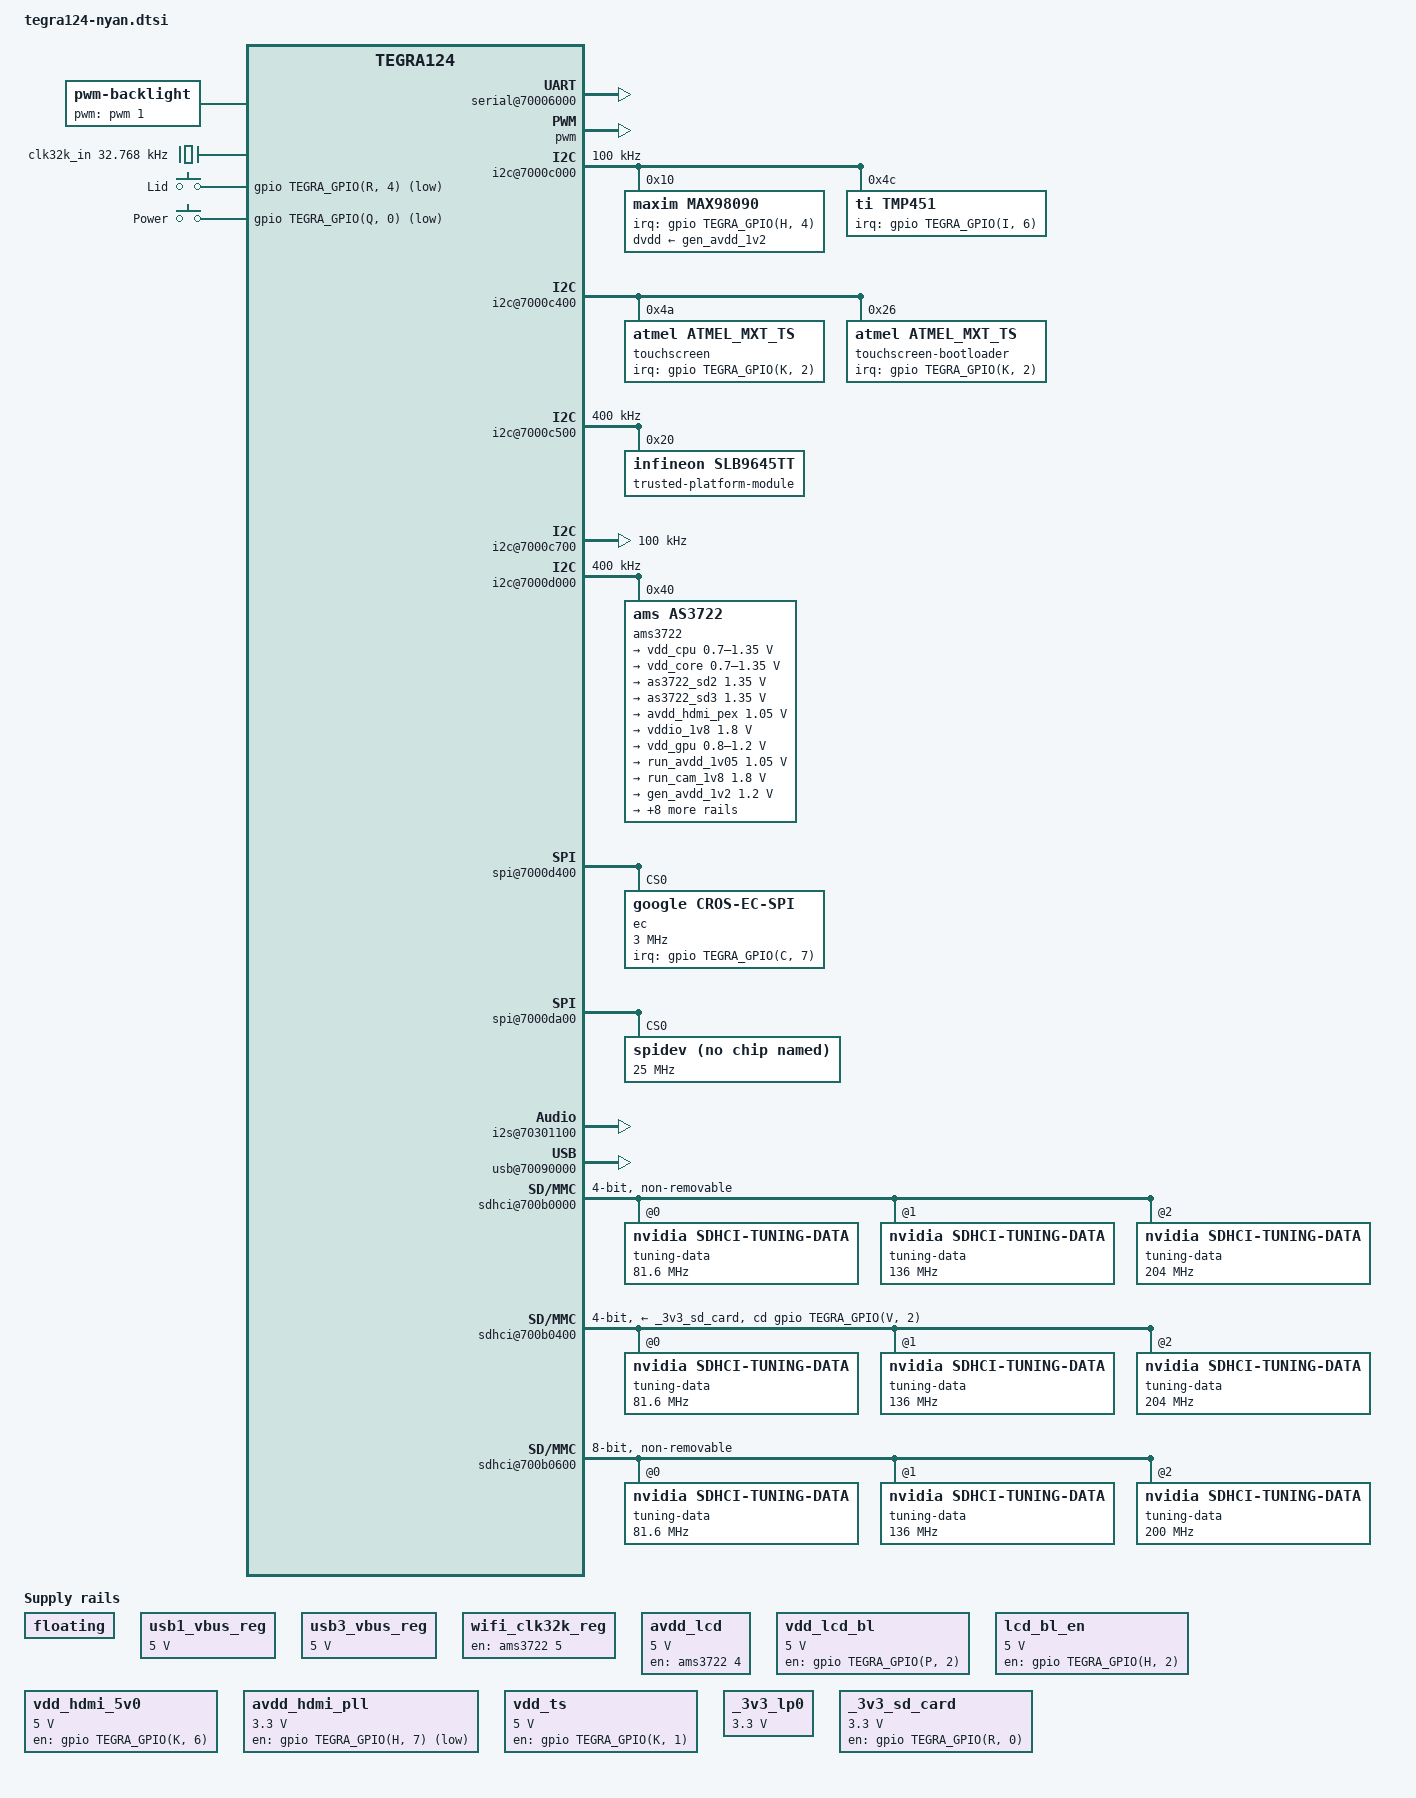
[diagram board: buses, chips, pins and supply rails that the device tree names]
#include <dt-bindings/input/input.h>
#include <dt-bindings/mfd/as3722.h>
#include <dt-bindings/thermal/thermal.h>
#include "tegra124.dtsi"

/ {
	compatible = "google,nyan", "nvidia,tegra124";

	memory {
		reg = <0x0 0x80000000 0x80000000>;
	};

	firmware {
		chromeos {
			write-protect-gpio = <&gpio TEGRA_GPIO(R, 1) GPIO_ACTIVE_LOW>;
		};
	};

	host1x@50000000 {
		dc@54200000 {
			avdd-lcd-supply = <&avdd_lcd>;
			vdd-lcd-bl-supply = <&vdd_lcd_bl>;
			lcd-bl-en-supply = <&lcd_bl_en>;
		};

		dc@54240000 {
			avdd-hdmi-pex-supply = <&avdd_hdmi_pex>;
			avdd-hdmi-pll-supply = <&avdd_hdmi_pll>;
			vdd-hdmi-5v0-supply = <&vdd_hdmi_5v0>;

			hdmi-hpd-gpios = <&gpio TEGRA_GPIO(N, 7) GPIO_ACTIVE_HIGH>;
		};

		gk20a@57000000 {
			vddgpu-supply = <&vdd_gpu>;
		};
	};

	pinmux {
		pinctrl-names = "default";
		pinctrl-0 = <&state_default>;

		state_default: pinmux@0 {
			dap_mclk1_pw4 {
				nvidia,pins = "dap_mclk1_pw4";
				nvidia,function = "extperiph1";
				nvidia,pull = <TEGRA_PIN_PULL_NONE>;
				nvidia,tristate = <TEGRA_PIN_DISABLE>;
				nvidia,enable-input = <TEGRA_PIN_DISABLE>;
			};
			dap2_din_pa4 {
				nvidia,pins = "dap2_din_pa4";
				nvidia,function = "i2s1";
				nvidia,pull = <TEGRA_PIN_PULL_NONE>;
				nvidia,tristate = <TEGRA_PIN_DISABLE>;
				nvidia,enable-input = <TEGRA_PIN_ENABLE>;
			};
			dap2_dout_pa5 {
				nvidia,pins = "dap2_dout_pa5",
						"dap2_fs_pa2",
						"dap2_sclk_pa3";
				nvidia,function = "i2s1";
				nvidia,pull = <TEGRA_PIN_PULL_NONE>;
				nvidia,tristate = <TEGRA_PIN_DISABLE>;
				nvidia,enable-input = <TEGRA_PIN_DISABLE>;
			};
			dap3_dout_pp2 {
				nvidia,pins = "dap3_dout_pp2";
				nvidia,function = "i2s2";
				nvidia,pull = <TEGRA_PIN_PULL_DOWN>;
				nvidia,tristate = <TEGRA_PIN_DISABLE>;
				nvidia,enable-input = <TEGRA_PIN_DISABLE>;
			};
			dvfs_pwm_px0 {
				nvidia,pins = "dvfs_pwm_px0",
						"dvfs_clk_px2";
				nvidia,function = "cldvfs";
				nvidia,pull = <TEGRA_PIN_PULL_NONE>;
				nvidia,tristate = <TEGRA_PIN_DISABLE>;
				nvidia,enable-input = <TEGRA_PIN_DISABLE>;
			};
			ulpi_clk_py0 {
				nvidia,pins = "ulpi_clk_py0",
						"ulpi_nxt_py2",
						"ulpi_stp_py3";
				nvidia,function = "spi1";
				nvidia,pull = <TEGRA_PIN_PULL_NONE>;
				nvidia,tristate = <TEGRA_PIN_DISABLE>;
				nvidia,enable-input = <TEGRA_PIN_DISABLE>;
			};
			ulpi_dir_py1 {
				nvidia,pins = "ulpi_dir_py1";
				nvidia,function = "spi1";
				nvidia,pull = <TEGRA_PIN_PULL_NONE>;
				nvidia,tristate = <TEGRA_PIN_DISABLE>;
				nvidia,enable-input = <TEGRA_PIN_ENABLE>;
			};
			cam_i2c_scl_pbb1 {
				nvidia,pins = "cam_i2c_scl_pbb1",
						"cam_i2c_sda_pbb2";
				nvidia,function = "i2c3";
				nvidia,pull = <TEGRA_PIN_PULL_NONE>;
				nvidia,tristate = <TEGRA_PIN_DISABLE>;
				nvidia,enable-input = <TEGRA_PIN_ENABLE>;
				nvidia,lock = <TEGRA_PIN_DISABLE>;
				nvidia,open-drain = <TEGRA_PIN_ENABLE>;
			};
			gen2_i2c_scl_pt5 {
				nvidia,pins = "gen2_i2c_scl_pt5",
						"gen2_i2c_sda_pt6";
				nvidia,function = "i2c2";
				nvidia,pull = <TEGRA_PIN_PULL_NONE>;
				nvidia,tristate = <TEGRA_PIN_DISABLE>;
				nvidia,enable-input = <TEGRA_PIN_ENABLE>;
				nvidia,lock = <TEGRA_PIN_DISABLE>;
				nvidia,open-drain = <TEGRA_PIN_ENABLE>;
			};
			pj7 {
				nvidia,pins = "pj7";
				nvidia,function = "uartd";
				nvidia,pull = <TEGRA_PIN_PULL_NONE>;
				nvidia,tristate = <TEGRA_PIN_DISABLE>;
				nvidia,enable-input = <TEGRA_PIN_DISABLE>;
			};
			spdif_in_pk6 {
				nvidia,pins = "spdif_in_pk6";
				nvidia,function = "spdif";
				nvidia,pull = <TEGRA_PIN_PULL_DOWN>;
				nvidia,tristate = <TEGRA_PIN_DISABLE>;
				nvidia,enable-input = <TEGRA_PIN_DISABLE>;
			};
			pk7 {
				nvidia,pins = "pk7";
				nvidia,function = "uartd";
				nvidia,pull = <TEGRA_PIN_PULL_NONE>;
				nvidia,tristate = <TEGRA_PIN_DISABLE>;
				nvidia,enable-input = <TEGRA_PIN_DISABLE>;
			};
			pg4 {
				nvidia,pins = "pg4",
						"pg5",
						"pg6",
						"pi3";
				nvidia,function = "spi4";
				nvidia,pull = <TEGRA_PIN_PULL_NONE>;
				nvidia,tristate = <TEGRA_PIN_DISABLE>;
				nvidia,enable-input = <TEGRA_PIN_DISABLE>;
			};
			pg7 {
				nvidia,pins = "pg7";
				nvidia,function = "spi4";
				nvidia,pull = <TEGRA_PIN_PULL_NONE>;
				nvidia,tristate = <TEGRA_PIN_DISABLE>;
				nvidia,enable-input = <TEGRA_PIN_ENABLE>;
			};
			ph1 {
				nvidia,pins = "ph1";
				nvidia,function = "pwm1";
				nvidia,pull = <TEGRA_PIN_PULL_NONE>;
				nvidia,tristate = <TEGRA_PIN_DISABLE>;
				nvidia,enable-input = <TEGRA_PIN_DISABLE>;
			};
			pk0 {
				nvidia,pins = "pk0",
						"kb_row15_ps7",
						"clk_32k_out_pa0";
				nvidia,function = "soc";
				nvidia,pull = <TEGRA_PIN_PULL_UP>;
				nvidia,tristate = <TEGRA_PIN_DISABLE>;
				nvidia,enable-input = <TEGRA_PIN_ENABLE>;
			};
			sdmmc1_clk_pz0 {
				nvidia,pins = "sdmmc1_clk_pz0";
				nvidia,function = "sdmmc1";
				nvidia,pull = <TEGRA_PIN_PULL_NONE>;
				nvidia,tristate = <TEGRA_PIN_DISABLE>;
				nvidia,enable-input = <TEGRA_PIN_ENABLE>;
			};
			sdmmc1_cmd_pz1 {
				nvidia,pins = "sdmmc1_cmd_pz1",
						"sdmmc1_dat0_py7",
						"sdmmc1_dat1_py6",
						"sdmmc1_dat2_py5",
						"sdmmc1_dat3_py4";
				nvidia,function = "sdmmc1";
				nvidia,pull = <TEGRA_PIN_PULL_UP>;
				nvidia,tristate = <TEGRA_PIN_DISABLE>;
				nvidia,enable-input = <TEGRA_PIN_ENABLE>;
			};
			sdmmc3_clk_pa6 {
				nvidia,pins = "sdmmc3_clk_pa6";
				nvidia,function = "sdmmc3";
				nvidia,pull = <TEGRA_PIN_PULL_NONE>;
				nvidia,tristate = <TEGRA_PIN_DISABLE>;
				nvidia,enable-input = <TEGRA_PIN_ENABLE>;
			};
			sdmmc3_cmd_pa7 {
				nvidia,pins = "sdmmc3_cmd_pa7",
						"sdmmc3_dat0_pb7",
						"sdmmc3_dat1_pb6",
						"sdmmc3_dat2_pb5",
						"sdmmc3_dat3_pb4",
						"kb_col4_pq4",
						"sdmmc3_clk_lb_out_pee4",
						"sdmmc3_clk_lb_in_pee5",
						"sdmmc3_cd_n_pv2";
				nvidia,function = "sdmmc3";
				nvidia,pull = <TEGRA_PIN_PULL_UP>;
				nvidia,tristate = <TEGRA_PIN_DISABLE>;
				nvidia,enable-input = <TEGRA_PIN_ENABLE>;
			};
			sdmmc4_clk_pcc4 {
				nvidia,pins = "sdmmc4_clk_pcc4";
				nvidia,function = "sdmmc4";
				nvidia,pull = <TEGRA_PIN_PULL_NONE>;
				nvidia,tristate = <TEGRA_PIN_DISABLE>;
				nvidia,enable-input = <TEGRA_PIN_ENABLE>;
			};
			sdmmc4_cmd_pt7 {
				nvidia,pins = "sdmmc4_cmd_pt7",
						"sdmmc4_dat0_paa0",
						"sdmmc4_dat1_paa1",
						"sdmmc4_dat2_paa2",
						"sdmmc4_dat3_paa3",
						"sdmmc4_dat4_paa4",
						"sdmmc4_dat5_paa5",
						"sdmmc4_dat6_paa6",
						"sdmmc4_dat7_paa7";
				nvidia,function = "sdmmc4";
				nvidia,pull = <TEGRA_PIN_PULL_UP>;
				nvidia,tristate = <TEGRA_PIN_DISABLE>;
				nvidia,enable-input = <TEGRA_PIN_ENABLE>;
			};
			mic_det_l {
				nvidia,pins = "kb_row7_pr7";
				nvidia,function = "rsvd2";
				nvidia,pull = <TEGRA_PIN_PULL_UP>;
				nvidia,tristate = <TEGRA_PIN_DISABLE>;
				nvidia,enable-input = <TEGRA_PIN_ENABLE>;
			};
			kb_row10_ps2 {
				nvidia,pins = "kb_row10_ps2";
				nvidia,function = "uarta";
				nvidia,pull = <TEGRA_PIN_PULL_UP>;
				nvidia,tristate = <TEGRA_PIN_DISABLE>;
				nvidia,enable-input = <TEGRA_PIN_ENABLE>;
			};
			kb_row9_ps1 {
				nvidia,pins = "kb_row9_ps1";
				nvidia,function = "uarta";
				nvidia,pull = <TEGRA_PIN_PULL_NONE>;
				nvidia,tristate = <TEGRA_PIN_DISABLE>;
				nvidia,enable-input = <TEGRA_PIN_DISABLE>;
			};
			pwr_i2c_scl_pz6 {
				nvidia,pins = "pwr_i2c_scl_pz6",
						"pwr_i2c_sda_pz7";
				nvidia,function = "i2cpwr";
				nvidia,pull = <TEGRA_PIN_PULL_NONE>;
				nvidia,tristate = <TEGRA_PIN_DISABLE>;
				nvidia,enable-input = <TEGRA_PIN_ENABLE>;
				nvidia,lock = <TEGRA_PIN_DISABLE>;
				nvidia,open-drain = <TEGRA_PIN_ENABLE>;
			};
			jtag_rtck {
				nvidia,pins = "jtag_rtck";
				nvidia,function = "rtck";
				nvidia,pull = <TEGRA_PIN_PULL_UP>;
				nvidia,tristate = <TEGRA_PIN_DISABLE>;
				nvidia,enable-input = <TEGRA_PIN_DISABLE>;

			};
			clk_32k_in {
				nvidia,pins = "clk_32k_in";
				nvidia,function = "clk";
				nvidia,pull = <TEGRA_PIN_PULL_NONE>;
				nvidia,tristate = <TEGRA_PIN_DISABLE>;
				nvidia,enable-input = <TEGRA_PIN_ENABLE>;
			};
			core_pwr_req {
				nvidia,pins = "core_pwr_req";
				nvidia,function = "pwron";
				nvidia,pull = <TEGRA_PIN_PULL_NONE>;
				nvidia,tristate = <TEGRA_PIN_DISABLE>;
				nvidia,enable-input = <TEGRA_PIN_DISABLE>;
			};
			cpu_pwr_req {
				nvidia,pins = "cpu_pwr_req";
				nvidia,function = "cpu";
				nvidia,pull = <TEGRA_PIN_PULL_NONE>;
				nvidia,tristate = <TEGRA_PIN_DISABLE>;
				nvidia,enable-input = <TEGRA_PIN_DISABLE>;
			};
			kb_col0_ap {
				nvidia,pins = "kb_col0_pq0";
				nvidia,function = "rsvd4";
				nvidia,pull = <TEGRA_PIN_PULL_UP>;
				nvidia,tristate = <TEGRA_PIN_DISABLE>;
				nvidia,enable-input = <TEGRA_PIN_ENABLE>;
			};
			en_vdd_sd {
				nvidia,pins = "kb_row0_pr0";
				nvidia,function = "rsvd4";
				nvidia,pull = <TEGRA_PIN_PULL_NONE>;
				nvidia,tristate = <TEGRA_PIN_DISABLE>;
				nvidia,enable-input = <TEGRA_PIN_DISABLE>;
			};
			lid_open {
				nvidia,pins = "kb_row4_pr4";
				nvidia,function = "rsvd3";
				nvidia,pull = <TEGRA_PIN_PULL_UP>;
				nvidia,tristate = <TEGRA_PIN_DISABLE>;
				nvidia,enable-input = <TEGRA_PIN_ENABLE>;
			};
			pwr_int_n {
				nvidia,pins = "pwr_int_n";
				nvidia,function = "pmi";
				nvidia,pull = <TEGRA_PIN_PULL_UP>;
				nvidia,tristate = <TEGRA_PIN_DISABLE>;
				nvidia,enable-input = <TEGRA_PIN_ENABLE>;
			};
			reset_out_n {
				nvidia,pins = "reset_out_n";
				nvidia,function = "reset_out_n";
				nvidia,pull = <TEGRA_PIN_PULL_NONE>;
				nvidia,tristate = <TEGRA_PIN_DISABLE>;
				nvidia,enable-input = <TEGRA_PIN_DISABLE>;
			};
			clk3_out_pee0 {
				nvidia,pins = "clk3_out_pee0";
				nvidia,function = "extperiph3";
				nvidia,pull = <TEGRA_PIN_PULL_NONE>;
				nvidia,tristate = <TEGRA_PIN_DISABLE>;
				nvidia,enable-input = <TEGRA_PIN_DISABLE>;
			};
			gen1_i2c_scl_pc4 {
				nvidia,pins = "gen1_i2c_scl_pc4",
						"gen1_i2c_sda_pc5";
				nvidia,function = "i2c1";
				nvidia,pull = <TEGRA_PIN_PULL_NONE>;
				nvidia,tristate = <TEGRA_PIN_DISABLE>;
				nvidia,enable-input = <TEGRA_PIN_ENABLE>;
				nvidia,lock = <TEGRA_PIN_DISABLE>;
				nvidia,open-drain = <TEGRA_PIN_ENABLE>;
			};
			hdmi_cec_pee3 {
				nvidia,pins = "hdmi_cec_pee3";
				nvidia,function = "cec";
				nvidia,pull = <TEGRA_PIN_PULL_NONE>;
				nvidia,tristate = <TEGRA_PIN_DISABLE>;
				nvidia,enable-input = <TEGRA_PIN_ENABLE>;
				nvidia,lock = <TEGRA_PIN_DISABLE>;
				nvidia,open-drain = <TEGRA_PIN_DISABLE>;
			};
			hdmi_int_pn7 {
				nvidia,pins = "hdmi_int_pn7";
				nvidia,function = "rsvd1";
				nvidia,pull = <TEGRA_PIN_PULL_DOWN>;
				nvidia,tristate = <TEGRA_PIN_DISABLE>;
				nvidia,enable-input = <TEGRA_PIN_ENABLE>;
			};
			ddc_scl_pv4 {
				nvidia,pins = "ddc_scl_pv4",
						"ddc_sda_pv5";
				nvidia,function = "i2c4";
				nvidia,pull = <TEGRA_PIN_PULL_DOWN>;
				nvidia,tristate = <TEGRA_PIN_DISABLE>;
				nvidia,enable-input = <TEGRA_PIN_ENABLE>;
				nvidia,lock = <TEGRA_PIN_DISABLE>;
				nvidia,rcv-sel = <TEGRA_PIN_PULL_DOWN>;
			};
			usb_vbus_en0_pn4 {
				nvidia,pins = "usb_vbus_en0_pn4",
						"usb_vbus_en1_pn5",
						"usb_vbus_en2_pff1";
				nvidia,function = "usb";
				nvidia,pull = <TEGRA_PIN_PULL_UP>;
				nvidia,tristate = <TEGRA_PIN_DISABLE>;
				nvidia,enable-input = <TEGRA_PIN_ENABLE>;
				nvidia,lock = <TEGRA_PIN_DISABLE>;
				nvidia,open-drain = <TEGRA_PIN_DISABLE>;
			};
			drive_sdio1 {
				nvidia,pins = "drive_sdio1";
				nvidia,high-speed-mode = <TEGRA_PIN_ENABLE>;
				nvidia,schmitt = <TEGRA_PIN_DISABLE>;
				nvidia,low-power-mode = <TEGRA_PIN_LP_DRIVE_DIV_1>;
				nvidia,pull-down-strength = <36>;
				nvidia,pull-up-strength = <20>;
				nvidia,slew-rate-rising = <TEGRA_PIN_SLEW_RATE_SLOW>;
				nvidia,slew-rate-falling = <TEGRA_PIN_SLEW_RATE_SLOW>;
			};
			drive_sdio3 {
				nvidia,pins = "drive_sdio3";
				nvidia,high-speed-mode = <TEGRA_PIN_ENABLE>;
				nvidia,schmitt = <TEGRA_PIN_DISABLE>;
				nvidia,low-power-mode = <TEGRA_PIN_LP_DRIVE_DIV_1>;
				nvidia,pull-down-strength = <22>;
				nvidia,pull-up-strength = <36>;
				nvidia,slew-rate-rising = <TEGRA_PIN_SLEW_RATE_FASTEST>;
				nvidia,slew-rate-falling = <TEGRA_PIN_SLEW_RATE_FASTEST>;
			};
			drive_gma {
				nvidia,pins = "drive_gma";
				nvidia,high-speed-mode = <TEGRA_PIN_ENABLE>;
				nvidia,schmitt = <TEGRA_PIN_DISABLE>;
				nvidia,low-power-mode = <TEGRA_PIN_LP_DRIVE_DIV_1>;
				nvidia,pull-down-strength = <2>;
				nvidia,pull-up-strength = <1>;
				nvidia,slew-rate-rising = <TEGRA_PIN_SLEW_RATE_FASTEST>;
				nvidia,slew-rate-falling = <TEGRA_PIN_SLEW_RATE_FASTEST>;
				nvidia,drive-type = <1>;
			};
			ac_ok {
				nvidia,pins = "pj0";
				nvidia,function = "gmi";
				nvidia,pull = <TEGRA_PIN_PULL_UP>;
				nvidia,tristate = <TEGRA_PIN_DISABLE>;
				nvidia,enable-input = <TEGRA_PIN_ENABLE>;
			};
			codec_irq_l {
				nvidia,pins = "ph4";
				nvidia,function = "gmi";
				nvidia,pull = <TEGRA_PIN_PULL_NONE>;
				nvidia,tristate = <TEGRA_PIN_DISABLE>;
				nvidia,enable-input = <TEGRA_PIN_ENABLE>;
			};
			lcd_bl_en {
				nvidia,pins = "ph2";
				nvidia,function = "gmi";
				nvidia,pull = <TEGRA_PIN_PULL_DOWN>;
				nvidia,tristate = <TEGRA_PIN_DISABLE>;
				nvidia,enable-input = <TEGRA_PIN_DISABLE>;
			};
			touch_irq_l {
				nvidia,pins = "gpio_w3_aud_pw3";
				nvidia,function = "spi6";
				nvidia,pull = <TEGRA_PIN_PULL_NONE>;
				nvidia,tristate = <TEGRA_PIN_DISABLE>;
				nvidia,enable-input = <TEGRA_PIN_ENABLE>;
			};
			tpm_davint_l {
				nvidia,pins = "ph6";
				nvidia,function = "gmi";
				nvidia,pull = <TEGRA_PIN_PULL_NONE>;
				nvidia,tristate = <TEGRA_PIN_DISABLE>;
				nvidia,enable-input = <TEGRA_PIN_ENABLE>;
			};
			ts_irq_l {
				nvidia,pins = "pk2";
				nvidia,function = "gmi";
				nvidia,pull = <TEGRA_PIN_PULL_NONE>;
				nvidia,tristate = <TEGRA_PIN_DISABLE>;
				nvidia,enable-input = <TEGRA_PIN_ENABLE>;
			};
			ts_reset_l {
				nvidia,pins = "pk4";
				nvidia,function = "gmi";
				nvidia,pull = <TEGRA_PIN_PULL_UP>;
				nvidia,tristate = <TEGRA_PIN_DISABLE>;
				nvidia,enable-input = <TEGRA_PIN_DISABLE>;
			};
			ts_shdn_l {
				nvidia,pins = "pk1";
				nvidia,function = "gmi";
				nvidia,pull = <TEGRA_PIN_PULL_UP>;
				nvidia,tristate = <TEGRA_PIN_DISABLE>;
				nvidia,enable-input = <TEGRA_PIN_DISABLE>;
			};
			ph7 {
				nvidia,pins = "ph7";
				nvidia,function = "gmi";
				nvidia,pull = <TEGRA_PIN_PULL_NONE>;
				nvidia,tristate = <TEGRA_PIN_DISABLE>;
				nvidia,enable-input = <TEGRA_PIN_ENABLE>;
			};
			sensor_irq_l {
				nvidia,pins = "pi6";
				nvidia,function = "gmi";
				nvidia,pull = <TEGRA_PIN_PULL_NONE>;
				nvidia,tristate = <TEGRA_PIN_DISABLE>;
				nvidia,enable-input = <TEGRA_PIN_ENABLE>;
			};
			wifi_en {
				nvidia,pins = "gpio_x7_aud_px7";
				nvidia,function = "rsvd4";
				nvidia,pull = <TEGRA_PIN_PULL_NONE>;
				nvidia,tristate = <TEGRA_PIN_DISABLE>;
				nvidia,enable-input = <TEGRA_PIN_DISABLE>;
			};
			chromeos_write_protect {
				nvidia,pins = "kb_row1_pr1";
				nvidia,function = "rsvd4";
				nvidia,pull = <TEGRA_PIN_PULL_NONE>;
				nvidia,tristate = <TEGRA_PIN_DISABLE>;
				nvidia,enable-input = <TEGRA_PIN_ENABLE>;
			};
		};
	};

	serial@70006000 {
		status = "okay";
	};

	pwm {
		status = "okay";
	};

	rtc {
		nvidia,pmc-wakeup = <&pmc 1 16 4>;
	};

	i2c@7000c000 {
		status = "okay";
		clock-frequency = <100000>;

		max98090: max98090 {
			compatible = "maxim,max98090";
			reg = <0x10>;
			interrupt-parent = <&gpio>;
			interrupts = <TEGRA_GPIO(H, 4) GPIO_ACTIVE_HIGH>;
			dvdd-supply = <&gen_avdd_1v2>;
		};

		tmp451: temperature-sensor@4c {
			compatible = "ti,tmp451";
			reg = <0x4c>;
			interrupt-parent = <&gpio>;
			interrupts = <TEGRA_GPIO(I, 6) IRQ_TYPE_LEVEL_LOW>;

			#thermal-sensor-cells = <1>;
		};
	};

	i2c@7000c400 {
		status = "okay";

		touchscreen {
			compatible = "atmel,atmel_mxt_ts";
			reg = <0x4a>;
			interrupt-parent = <&gpio>;
			interrupts = <TEGRA_GPIO(K, 2) GPIO_ACTIVE_HIGH>;
		};

		touchscreen-bootloader {
			compatible = "atmel,atmel_mxt_ts";
			reg = <0x26>;
			interrupt-parent = <&gpio>;
			interrupts = <TEGRA_GPIO(K, 2) GPIO_ACTIVE_HIGH>;
		};
	};

	i2c@7000c500 {
		status = "okay";
		clock-frequency = <400000>;

		trusted-platform-module {
			compatible = "infineon,slb9645tt";
			reg = <0x20>;
			powered-while-suspended;
		};
	};

	i2c@7000c700 {
		status = "okay";
		clock-frequency = <100000>;
	};

	i2c@7000d000 {
		status = "okay";
		clock-frequency = <400000>;

		ams3722: pmic@40 {
			compatible = "ams,as3722";
			reg = <0x40>;

			interrupts = <GIC_SPI 86 IRQ_TYPE_NONE>;
			interrupt-controller;
			#interrupt-cells = <2>;
			nvidia,pmc-wakeup = <&pmc 1 18 8>;

			gpio-controller;
			#gpio-cells = <2>;

			ams,system-power-controller;

			ams,sd0-adc-ch = <AS3722_TEMP1_SD0>;
			ams,sd1-adc-ch = <AS3722_TEMP_SD1>;
			ams,sd6-adc-ch = <AS3722_TEMP2_SD6>;
			#thermal-sensor-cells = <1>;

			pinctrl-names = "default";
			pinctrl-0 = <&as3722_default>;

			as3722_default: pinmux@0 {
				gpio0 {
					pins = "gpio0";
					function = "gpio";
					bias-pull-down;
				};

				gpio1 {
					pins = "gpio1";
					function = "gpio";
					bias-pull-up;
					low-power-enable = <AS3722_GPIO_LOW_POWER_MODE(4, 0x7)>;
				};

				gpio2_4_7 {
					pins = "gpio2", "gpio4", "gpio7";
					function = "gpio";
					bias-pull-up;
				};

				gpio3 {
					pins = "gpio3";
					function = "gpio";
					bias-high-impedance;
				};

				gpio5 {
					pins = "gpio5";
					function = "clk32k-out";
					bias-pull-down;
				};
			};

			regulators {
				vsup-sd2-supply = <&floating>;
				vsup-sd3-supply = <&floating>;
				vsup-sd4-supply = <&floating>;
				vsup-sd5-supply = <&floating>;
				vin-ldo0-supply = <&as3722_sd2>;
				vin-ldo1-6-supply = <&floating>;
				vin-ldo2-5-7-supply = <&vddio_1v8>;
				vin-ldo3-4-supply = <&floating>;
				vin-ldo9-10-supply = <&floating>;
				vin-ldo11-supply = <&floating>;

				vdd_cpu: sd0 {
					regulator-name = "vdd_cpu";
					regulator-min-microvolt = <700000>;
					regulator-max-microvolt = <1350000>;
					regulator-max-microamp = <3500000>;
					regulator-always-on;
					regulator-suspend-mem-disabled;
					ams,ext-control = <2>;
				};

				sd1 {
					regulator-name = "vdd_core";
					regulator-min-microvolt = <700000>;
					regulator-max-microvolt = <1350000>;
					regulator-max-microamp = <4000000>;
					regulator-always-on;
					regulator-suspend-mem-disabled;
					ams,ext-control = <1>;
					ams,standby-sequence = <6>;
				};

				as3722_sd2: sd2 {
					regulator-name = "vddio_ddr";
					regulator-min-microvolt = <1350000>;
					regulator-max-microvolt = <1350000>;
					regulator-always-on;
					regulator-suspend-mem-enabled;
				};

				as3722_sd3: sd3 {
					regulator-name = "sd3";
					regulator-min-microvolt = <1350000>;
					regulator-max-microvolt = <1350000>;
					regulator-always-on;
					regulator-suspend-mem-enabled;
				};

				avdd_hdmi_pex: sd4 {
					regulator-name = "avdd-hdmi-pex";
					regulator-min-microvolt = <1050000>;
					regulator-max-microvolt = <1050000>;
					regulator-boot-on;
					regulator-suspend-mem-disabled;
					ams,standby-sequence = <3>;
				};

				vddio_1v8: sd5 {
					regulator-name = "vdd-1v8";
					regulator-min-microvolt = <1800000>;
					regulator-max-microvolt = <1800000>;
					regulator-always-on;
					regulator-suspend-mem-enabled;
				};

				vdd_gpu: sd6 {
					regulator-name = "vdd_gpu";
					regulator-min-microvolt = <800000>;
					regulator-max-microvolt = <1200000>;
					regulator-max-microamp = <3500000>;
					regulator-boot-on;
					regulator-always-on;
					regulator-suspend-mem-disabled;
					ams,standby-sequence = <0>;
				};

				run_avdd_1v05: ldo0 {
					regulator-name = "avdd-pll";
					regulator-min-microvolt = <1050000>;
					regulator-max-microvolt = <1050000>;
					regulator-always-on;
					regulator-suspend-mem-disabled;
					ams,ext-control = <1>;
					ams,standby-sequence = <5>;
				};

				run_cam_1v8: ldo1 {
					regulator-name = "vdd_cam";
					regulator-min-microvolt = <1800000>;
					regulator-max-microvolt = <1800000>;
					regulator-suspend-mem-disabled;
				};

				gen_avdd_1v2: ldo2 {
					regulator-name = "vddio_hsic";
					regulator-min-microvolt = <1200000>;
					regulator-max-microvolt = <1200000>;
					regulator-always-on;
					regulator-suspend-mem-disabled;
					ams,standby-sequence = <2>;
				};

				lp0_vdd_rtc_1v0: ldo3 {
					regulator-name = "vdd_rtc";
					regulator-min-microvolt = <1000000>;
					regulator-max-microvolt = <1000000>;
					regulator-always-on;
					regulator-suspend-mem-enabled;
					ams,enable-tracking;
				};

				run_cam_2v8: ldo4 {
					regulator-name = "avdd_cam";
					regulator-min-microvolt = <2800000>;
					regulator-max-microvolt = <2800000>;
					regulator-suspend-mem-disabled;
					ams,standby-sequence = <1>;
				};

				run_cam_front_1v2: ldo5 {
					regulator-name = "vdig";
					regulator-min-microvolt = <1200000>;
					regulator-max-microvolt = <1200000>;
					regulator-suspend-mem-disabled;
				};

				vddio_sdmmc3: ldo6 {
					regulator-name = "vddio_sdmmc";
					regulator-min-microvolt = <1800000>;
					regulator-max-microvolt = <3300000>;
					regulator-suspend-mem-disabled;
				};

				run_cam_rear_en_1v05: ldo7 {
					regulator-name = "vdd_cam1";
					regulator-min-microvolt = <1050000>;
					regulator-max-microvolt = <1050000>;
					regulator-suspend-mem-disabled;
				};

				run_touch_2v8: ldo9 {
					regulator-name = "avdd";
					regulator-min-microvolt = <2800000>;
					regulator-max-microvolt = <2800000>;
					regulator-suspend-mem-disabled;
				};

				run_cam_af_2v8: ldo10 {
					regulator-name = "avdd_af1_cam";
					regulator-min-microvolt = <2800000>;
					regulator-max-microvolt = <2800000>;
					regulator-suspend-mem-disabled;
				};

				run_vpp_fuse_1v8: ldo11 {
					regulator-name = "vpp_fuse";
					regulator-min-microvolt = <1800000>;
					regulator-max-microvolt = <1800000>;
					regulator-suspend-mem-disabled;
				};
			};
		};
	};

	spi@7000d400 {
		status = "okay";
		ec: cros-ec@0 {
			compatible = "google,cros-ec-spi";
			spi-max-frequency = <3000000>;
			interrupt-parent = <&gpio>;
			interrupts = <TEGRA_GPIO(C, 7) IRQ_TYPE_LEVEL_LOW>;
			nvidia,pmc-wakeup = <&pmc 1 8 8>;
			reg = <0>;

			google,cros-ec-spi-msg-delay = <2000>;

			i2c_20: i2c-tunnel {
				compatible = "google,cros-ec-i2c-tunnel";
				#address-cells = <1>;
				#size-cells = <0>;

				google,remote-bus = <0>;

				charger: bq24735 {
					compatible = "ti,bq24735";
					reg = <0x9>;
					interrupt-parent = <&gpio>;
					interrupts = <TEGRA_GPIO(J, 0)
							GPIO_ACTIVE_HIGH>;
					ti,ac-detect-gpios = <&gpio
							TEGRA_GPIO(J, 0)
							GPIO_ACTIVE_HIGH>;
				};

				battery: smart-battery {
					compatible = "sbs,sbs-battery";
					reg = <0xb>;
					battery-name = "battery";
					sbs,i2c-retry-count = <2>;
					sbs,poll-retry-count = <10>;
					power-supplies = <&charger>;
				};
			};

			keyboard-controller {
				compatible = "google,cros-ec-keyb";
				keypad,num-rows = <8>;
				keypad,num-columns = <13>;
				google,needs-ghost-filter;
				linux,keymap =
					<MATRIX_KEY(0x00, 0x01, KEY_LEFTMETA)
					 MATRIX_KEY(0x00, 0x02, KEY_F1)
					 MATRIX_KEY(0x00, 0x03, KEY_B)
					 MATRIX_KEY(0x00, 0x04, KEY_F10)
					 MATRIX_KEY(0x00, 0x06, KEY_N)
					 MATRIX_KEY(0x00, 0x08, KEY_EQUAL)
					 MATRIX_KEY(0x00, 0x0a, KEY_RIGHTALT)

					 MATRIX_KEY(0x01, 0x01, KEY_ESC)
					 MATRIX_KEY(0x01, 0x02, KEY_F4)
					 MATRIX_KEY(0x01, 0x03, KEY_G)
					 MATRIX_KEY(0x01, 0x04, KEY_F7)
					 MATRIX_KEY(0x01, 0x06, KEY_H)
					 MATRIX_KEY(0x01, 0x08, KEY_APOSTROPHE)
					 MATRIX_KEY(0x01, 0x09, KEY_F9)
					 MATRIX_KEY(0x01, 0x0b, KEY_BACKSPACE)

					 MATRIX_KEY(0x02, 0x00, KEY_LEFTCTRL)
					 MATRIX_KEY(0x02, 0x01, KEY_TAB)
					 MATRIX_KEY(0x02, 0x02, KEY_F3)
					 MATRIX_KEY(0x02, 0x03, KEY_T)
					 MATRIX_KEY(0x02, 0x04, KEY_F6)
					 MATRIX_KEY(0x02, 0x05, KEY_RIGHTBRACE)
					 MATRIX_KEY(0x02, 0x06, KEY_Y)
					 MATRIX_KEY(0x02, 0x07, KEY_102ND)
					 MATRIX_KEY(0x02, 0x08, KEY_LEFTBRACE)
					 MATRIX_KEY(0x02, 0x09, KEY_F8)

					 MATRIX_KEY(0x03, 0x01, KEY_GRAVE)
					 MATRIX_KEY(0x03, 0x02, KEY_F2)
					 MATRIX_KEY(0x03, 0x03, KEY_5)
					 MATRIX_KEY(0x03, 0x04, KEY_F5)
					 MATRIX_KEY(0x03, 0x06, KEY_6)
					 MATRIX_KEY(0x03, 0x08, KEY_MINUS)
					 MATRIX_KEY(0x03, 0x0b, KEY_BACKSLASH)

					 MATRIX_KEY(0x04, 0x00, KEY_RIGHTCTRL)
					 MATRIX_KEY(0x04, 0x01, KEY_A)
					 MATRIX_KEY(0x04, 0x02, KEY_D)
					 MATRIX_KEY(0x04, 0x03, KEY_F)
					 MATRIX_KEY(0x04, 0x04, KEY_S)
					 MATRIX_KEY(0x04, 0x05, KEY_K)
					 MATRIX_KEY(0x04, 0x06, KEY_J)
					 MATRIX_KEY(0x04, 0x08, KEY_SEMICOLON)
					 MATRIX_KEY(0x04, 0x09, KEY_L)
					 MATRIX_KEY(0x04, 0x0a, KEY_BACKSLASH)
					 MATRIX_KEY(0x04, 0x0b, KEY_ENTER)

					 MATRIX_KEY(0x05, 0x01, KEY_Z)
					 MATRIX_KEY(0x05, 0x02, KEY_C)
					 MATRIX_KEY(0x05, 0x03, KEY_V)
					 MATRIX_KEY(0x05, 0x04, KEY_X)
					 MATRIX_KEY(0x05, 0x05, KEY_COMMA)
					 MATRIX_KEY(0x05, 0x06, KEY_M)
					 MATRIX_KEY(0x05, 0x07, KEY_LEFTSHIFT)
					 MATRIX_KEY(0x05, 0x08, KEY_SLASH)
					 MATRIX_KEY(0x05, 0x09, KEY_DOT)
					 MATRIX_KEY(0x05, 0x0b, KEY_SPACE)

					 MATRIX_KEY(0x06, 0x01, KEY_1)
					 MATRIX_KEY(0x06, 0x02, KEY_3)
					 MATRIX_KEY(0x06, 0x03, KEY_4)
					 MATRIX_KEY(0x06, 0x04, KEY_2)
					 MATRIX_KEY(0x06, 0x05, KEY_8)
					 MATRIX_KEY(0x06, 0x06, KEY_7)
					 MATRIX_KEY(0x06, 0x08, KEY_0)
					 MATRIX_KEY(0x06, 0x09, KEY_9)
					 MATRIX_KEY(0x06, 0x0a, KEY_LEFTALT)
					 MATRIX_KEY(0x06, 0x0b, KEY_DOWN)
					 MATRIX_KEY(0x06, 0x0c, KEY_RIGHT)

					 MATRIX_KEY(0x07, 0x01, KEY_Q)
					 MATRIX_KEY(0x07, 0x02, KEY_E)
					 MATRIX_KEY(0x07, 0x03, KEY_R)
					 MATRIX_KEY(0x07, 0x04, KEY_W)
					 MATRIX_KEY(0x07, 0x05, KEY_I)
					 MATRIX_KEY(0x07, 0x06, KEY_U)
					 MATRIX_KEY(0x07, 0x07, KEY_RIGHTSHIFT)
					 MATRIX_KEY(0x07, 0x08, KEY_P)
					 MATRIX_KEY(0x07, 0x09, KEY_O)
					 MATRIX_KEY(0x07, 0x0b, KEY_UP)
					 MATRIX_KEY(0x07, 0x0c, KEY_LEFT)>;
			};
		};
	};

	spi@7000da00 {
		status = "okay";
		spidev@0 {
			compatible = "spidev";
			reg = <0>;
			spi-max-frequency = <25000000>;
		};
	};

	pmc {
		nvidia,invert-interrupt;
		nvidia,suspend-mode = <0>;
		#wake-cells = <3>;
		nvidia,cpu-pwr-good-time = <500>;
		nvidia,cpu-pwr-off-time = <300>;
		nvidia,core-pwr-good-time = <641 3845>;
		nvidia,core-pwr-off-time = <61036>;
		nvidia,core-power-req-active-high;
		nvidia,sys-clock-req-active-high;
	};

	fuse@7000f800 {
		vdd-supply = <&run_vpp_fuse_1v8>;
	};

	ahub {
		i2s@70301100 {
			status = "okay";
		};
	};

	hda@70030000 {
		status = "okay";
	};

	usb@70090000 {
		status = "okay";
		s1p05v-supply = <&avdd_hdmi_pex>; /* avddio_usb */
		s3p3v-supply = <&_3v3_lp0>; /* hvdd_pex_pll_e */
		s1p8v-supply = <&vddio_1v8>; /* avdd_pll_utmip */
		xusb-utmi0-wake {
			nvidia,pmc-wakeup = <&pmc 1 39 4>;
		};
		xusb-utmi2-wake {
			nvidia,pmc-wakeup = <&pmc 1 41 4>;
		};
		xusb-ss-wake {
			nvidia,pmc-wakeup = <&pmc 1 58 4>;
		};
	};

	phy@7009f000 {
		status = "okay";
		nvidia,ss-pads = <0x3>; /* SSP0, SSP1 */
		nvidia,hsic-pads = <0x0>;
		nvidia,utmi-pads = <0x7>; /* USB2P0, USB2P1, USB2P2 */
		nvidia,ss-portmap = <0x20>; /* SSP0->USB2P0, SSP1->USB2P2 */
		nvidia,lane-owner = <0x6>; /* USB3P0 USB3P1 */
		vbus1-supply = <&usb1_vbus_reg>;
		vbus2-supply = <&run_cam_2v8>;
		vbus3-supply = <&usb3_vbus_reg>;
		vddio-hsic-supply = <&gen_avdd_1v2>;
	};

	sdhci@700b0000 {
		#address-cells = <1>;
		#size-cells = <0>;

		power-gpios = <&gpio TEGRA_GPIO(X, 7) GPIO_ACTIVE_HIGH>;
		bus-width = <4>;
		no-1-8-v;
		non-removable;
		status = "okay";
		nvidia,host-off-card-on;
		keep-power-in-suspend;
		tap-delay = <2>;

		nvidia,vmax = <1150>;
		nvidia,vmin = <950>;
		nvidia,t2t-vnom-slope = <25>;
		nvidia,t2t-vnom-int = <115933>;
		nvidia,t2t-vmax-slope = <25>;
		nvidia,t2t-vmax-int = <115933>;
		nvidia,t2t-vmin-slope = <47>;
		nvidia,t2t-vmin-int = <187224>;

		tuning-data@0 {
			compatible = "nvidia,sdhci-tuning-data";
			clock-frequency = <81600000>;
			nvidia,thole-vnom-slope = <2916>;
			nvidia,thole-vnom-int = <331143>;
			nvidia,thole-vmax-slope = <2916>;
			nvidia,thole-vmax-int = <331143>;
			nvidia,thole-vmin-slope = <1480>;
			nvidia,thole-vmin-int = <232373>;
		};
		tuning-data@1 {
			compatible = "nvidia,sdhci-tuning-data";
			clock-frequency = <136000000>;
			nvidia,thole-vnom-slope = <1554>;
			nvidia,thole-vnom-int = <167210>;
			nvidia,thole-vmax-slope = <1554>;
			nvidia,thole-vmax-int = <167210>;
			nvidia,thole-vmin-slope = <793>;
			nvidia,thole-vmin-int = <115672>;
		};
		tuning-data@2 {
			compatible = "nvidia,sdhci-tuning-data";
			clock-frequency = <204000000>;
			nvidia,thole-vnom-slope = <874>;
			nvidia,thole-vnom-int = <85243>;
			nvidia,thole-vmax-slope = <874>;
			nvidia,thole-vmax-int = <85243>;
			nvidia,thole-vmin-slope = <449>;
			nvidia,thole-vmin-int = <57321>;
		};
	};

	sdhci@700b0400 {
		#address-cells = <1>;
		#size-cells = <0>;

		cd-gpios = <&gpio TEGRA_GPIO(V, 2) GPIO_ACTIVE_HIGH>;
		no-1-8-v;
		bus-width = <4>;
		status = "okay";
		vmmc-supply = <&_3v3_sd_card>;
		vqmmc-supply = <&vddio_sdmmc3>;
		tap-delay = <3>;

		nvidia,disable-ext-loopback;

		nvidia,vmax = <1150>;
		nvidia,vmin = <950>;
		nvidia,t2t-vnom-slope = <29>;
		nvidia,t2t-vnom-int = <124427>;
		nvidia,t2t-vmax-slope = <29>;
		nvidia,t2t-vmax-int = <124427>;
		nvidia,t2t-vmin-slope = <54>;
		nvidia,t2t-vmin-int = <203707>;

		tuning-data@0 {
			compatible = "nvidia,sdhci-tuning-data";
			clock-frequency = <81600000>;
			nvidia,thole-vnom-slope = <2504>;
			nvidia,thole-vnom-int = <281460>;
			nvidia,thole-vmax-slope = <2504>;
			nvidia,thole-vmax-int = <281460>;
			nvidia,thole-vmin-slope = <1262>;
			nvidia,thole-vmin-int = <194452>;
		};
		tuning-data@1 {
			compatible = "nvidia,sdhci-tuning-data";
			clock-frequency = <136000000>;
			nvidia,thole-vnom-slope = <1146>;
			nvidia,thole-vnom-int = <117841>;
			nvidia,thole-vmax-slope = <1146>;
			nvidia,thole-vmax-int = <117841>;
			nvidia,thole-vmin-slope = <589>;
			nvidia,thole-vmin-int = <78993>;
		};
		tuning-data@2 {
			compatible = "nvidia,sdhci-tuning-data";
			clock-frequency = <204000000>;
			nvidia,thole-vnom-slope = <468>;
			nvidia,thole-vnom-int = <36031>;
			nvidia,thole-vmax-slope = <468>;
			nvidia,thole-vmax-int = <36031>;
			nvidia,thole-vmin-slope = <253>;
			nvidia,thole-vmin-int = <21264>;
		};
	};

	sdhci@700b0600 {
		#address-cells = <1>;
		#size-cells = <0>;

		bus-width = <8>;
		no-1-8-v;
		non-removable;
		status = "okay";
		tap-delay = <5>;

		nvidia,vmax = <1150>;
		nvidia,vmin = <950>;
		nvidia,t2t-vnom-slope = <27>;
		nvidia,t2t-vnom-int = <118295>;
		nvidia,t2t-vmax-slope = <27>;
		nvidia,t2t-vmax-int = <118295>;
		nvidia,t2t-vmin-slope = <48>;
		nvidia,t2t-vmin-int = <188148>;

		tuning-data@0 {
			compatible = "nvidia,sdhci-tuning-data";
			clock-frequency = <81600000>;
			nvidia,thole-vnom-slope = <3090>;
			nvidia,thole-vnom-int = <351666>;
			nvidia,thole-vmax-slope = <3090>;
			nvidia,thole-vmax-int = <351666>;
			nvidia,thole-vmin-slope = <1583>;
			nvidia,thole-vmin-int = <247913>;
		};
		tuning-data@1 {
			compatible = "nvidia,sdhci-tuning-data";
			clock-frequency = <136000000>;
			nvidia,thole-vnom-slope = <1703>;
			nvidia,thole-vnom-int = <186307>;
			nvidia,thole-vmax-slope = <1703>;
			nvidia,thole-vmax-int = <186307>;
			nvidia,thole-vmin-slope = <890>;
			nvidia,thole-vmin-int = <130617>;
		};
		tuning-data@2 {
			compatible = "nvidia,sdhci-tuning-data";
			clock-frequency = <200000000>;
			nvidia,thole-vnom-slope = <1037>;
			nvidia,thole-vnom-int = <106934>;
			nvidia,thole-vmax-slope = <1037>;
			nvidia,thole-vmax-int = <106934>;
			nvidia,thole-vmin-slope = <558>;
			nvidia,thole-vmin-int = <74315>;
		};
	};

	dfll@70110000 {
		vdd-supply = <&vdd_cpu>;
		board-params = <&{/cpu_dfll_board_params}>;
		pmic-integration = <&{/cpu_dfll_pmic_integration}>;
		status = "okay";
	};

	backlight {
		compatible = "pwm-backlight";
		pwms = <&pwm 1 1000000>;
		default-brightness-level = <224>;
		brightness-levels =
			<  0   1   2   3   4   5   6   7
			   8   9  10  11  12  13  14  15
			  16  17  18  19  20  21  22  23
			  24  25  26  27  28  29  30  31
			  32  33  34  35  36  37  38  39
			  40  41  42  43  44  45  46  47
			  48  49  50  51  52  53  54  55
			  56  57  58  59  60  61  62  63
			  64  65  66  67  68  69  70  71
			  72  73  74  75  76  77  78  79
			  80  81  82  83  84  85  86  87
			  88  89  90  91  92  93  94  95
			  96  97  98  99 100 101 102 103
			 104 105 106 107 108 109 110 111
			 112 113 114 115 116 117 118 119
			 120 121 122 123 124 125 126 127
			 128 129 130 131 132 133 134 135
			 136 137 138 139 140 141 142 143
			 144 145 146 147 148 149 150 151
			 152 153 154 155 156 157 158 159
			 160 161 162 163 164 165 166 167
			 168 169 170 171 172 173 174 175
			 176 177 178 179 180 181 182 183
			 184 185 186 187 188 189 190 191
			 192 193 194 195 196 197 198 199
			 200 201 202 203 204 205 206 207
			 208 209 210 211 212 213 214 215
			 216 217 218 219 220 221 222 223
			 224 225 226 227 228 229 230 231
			 232 233 234 235 236 237 238 239
			 240 241 242 243 244 245 246 247
			 248 249 250 251 252 253 254 255
			 256>;
	};

	clocks {
		compatible = "simple-bus";
		#address-cells = <1>;
		#size-cells = <0>;

		clk32k_in: clock {
			compatible = "fixed-clock";
			reg = <0>;
			#clock-cells = <0>;
			clock-frequency = <32768>;
		};
	};

	gpio-keys {
		compatible = "gpio-keys";

		lid {
			label = "Lid";
			gpios = <&gpio TEGRA_GPIO(R, 4) GPIO_ACTIVE_LOW>;
			linux,input-type = <5>;
			linux,code = <0>;
			debounce-interval = <1>;
			gpio-key,wakeup;
			nvidia,pmc-wakeup = <&pmc 0 50 0>;
		};

		power {
			label = "Power";
			gpios = <&gpio TEGRA_GPIO(Q, 0) GPIO_ACTIVE_LOW>;
			linux,code = <KEY_POWER>;
			debounce-interval = <10>;
			gpio-key,wakeup;
			nvidia,pmc-wakeup = <&pmc 0 51 0>;
		};
	};

	regulators {
		compatible = "simple-bus";
		#address-cells = <1>;
		#size-cells = <0>;

		floating: regulator@0 {
			compatible = "regulator-fixed";
			reg = <0>;
			regulator-name = "floating";
		};

		usb1_vbus_reg: regulator@2 {
			compatible = "regulator-fixed";
			reg = <2>;
			regulator-name = "usb1_vbus";
			regulator-min-microvolt = <5000000>;
			regulator-max-microvolt = <5000000>;
			regulator-boot-on;
		};

		usb3_vbus_reg: regulator@3 {
			compatible = "regulator-fixed";
			reg = <3>;
			regulator-name = "usb3_vbus";
			regulator-min-microvolt = <5000000>;
			regulator-max-microvolt = <5000000>;
			regulator-boot-on;
		};

		wifi_clk32k_reg: regulator@4 {
			compatible = "regulator-fixed";
			reg = <4>;
			regulator-name = "wifi-clk32k";
			enable-active-high;
			gpio = <&ams3722 5 GPIO_ACTIVE_HIGH>;
			regulator-always-on;
		};

		avdd_lcd: regulator@5 {
			compatible = "regulator-fixed";
			reg = <5>;
			regulator-name = "avdd-lcd";
			regulator-min-microvolt = <5000000>;
			regulator-max-microvolt = <5000000>;
			enable-active-high;
			regulator-boot-on;
			gpio = <&ams3722 4 GPIO_ACTIVE_HIGH>; /* AS3722 GPIO 4 */
		};

		vdd_lcd_bl: regulator@6 {
			compatible = "regulator-fixed";
			reg = <6>;
			regulator-name = "vdd-lcd-bl";
			regulator-min-microvolt = <5000000>;
			regulator-max-microvolt = <5000000>;
			enable-active-high;
			regulator-boot-on;
			gpio = <&gpio TEGRA_GPIO(P, 2) GPIO_ACTIVE_HIGH>;
		};

		lcd_bl_en: regulator@7 {
			compatible = "regulator-fixed";
			reg = <7>;
			regulator-name = "lcd-bl-en";
			regulator-min-microvolt = <5000000>;
			regulator-max-microvolt = <5000000>;
			enable-active-high;
			regulator-boot-on;
			gpio = <&gpio TEGRA_GPIO(H, 2) GPIO_ACTIVE_HIGH>;
		};

		vdd_hdmi_5v0: regulator@8 {
			compatible = "regulator-fixed";
			reg = <8>;
			regulator-name = "vdd-hdmi-5v0";
			regulator-min-microvolt = <5000000>;
			regulator-max-microvolt = <5000000>;
			enable-active-high;
			regulator-boot-on;
			gpio = <&gpio TEGRA_GPIO(K, 6) GPIO_ACTIVE_HIGH>;
		};

		avdd_hdmi_pll: regulator@9 {
			compatible = "regulator-fixed";
			reg = <9>;
			regulator-name = "avdd-hdmi-pll";
			regulator-min-microvolt = <3300000>;
			regulator-max-microvolt = <3300000>;
			enable-active-low;
			regulator-boot-on;
			gpio = <&gpio TEGRA_GPIO(H, 7) GPIO_ACTIVE_HIGH>;
		};

		vdd_ts: regulator@10 {
			compatible = "regulator-fixed";
			reg = <10>;
			regulator-name = "vdd-ts";
			regulator-min-microvolt = <5000000>;
			regulator-max-microvolt = <5000000>;
			enable-active-high;
			regulator-boot-on;
			regulator-always-on;
			gpio = <&gpio TEGRA_GPIO(K, 1) GPIO_ACTIVE_HIGH>;
		};

		_3v3_lp0: regulator@11 {
			compatible = "regulator-fixed";
			reg = <11>;
			regulator-name = "3v3-lp0";
			regulator-min-microvolt = <3300000>;
			regulator-max-microvolt = <3300000>;
		};

		_3v3_sd_card: regulator@12 {
			compatible = "regulator-fixed";
			reg = <12>;
			regulator-name = "3v3-sd-card";
			regulator-min-microvolt = <3300000>;
			regulator-max-microvolt = <3300000>;
			enable-active-high;
			regulator-boot-on;
			gpio = <&gpio TEGRA_GPIO(R, 0) GPIO_ACTIVE_HIGH>;
		};
	};

	soc_therm {
		compatible = "nvidia,tegra124-soctherm";
		reg = <0x0 0x700e2000 0x1000>;
		interrupts = <GIC_SPI 48 IRQ_TYPE_NONE>;
		clocks = <&tegra_car TEGRA124_CLK_SOC_THERM>,
			 <&tegra_car TEGRA124_CLK_TSENSOR>;
		clock-names = "soc_therm", "tsensor";
		pmu-16bit-ops = <0>;
		pmu-i2c-addr = <0x40>;
		i2c-controller-id = <4>;
		poweroff-reg-addr = <0x36>;
		poweroff-reg-data = <0x2>;

		cpu-edp-cdev = <&{/cpu_edp_cdev_action}>;
		dfll-cdev = <&{/dfll_cdev_action}>;
	};

	cpu_dfll_board_params {
		sample-rate = <12500>;
		fixed-output-forcing;
		cf = <10>;
		ci = <0>;
		cg = <2>;
		droop-cut-value = <0xf>;
		droop-restore-ramp = <0x0>;
		scale-out-ramp = <0x0>;
	};

	cpu_dfll_pmic_integration {
		pmic-i2c-interface;
		pmic-i2c-address = <0x80>;
		pmic-i2c-voltage-register = <0x00>;
		i2c-fs-rate = <400000>;
		dfll-min-microvolt = <700000>;
		dfll-max-microvolt = <1350000>;
	};

	dfll_cdev_action {
		compatible = "nvidia,tegra124-dfll-cdev-action";
		act-dev = <&{/dfll@70110000}>;
		cdev-floor-type = "DFLL-floor";
		cdev-cap-type = "DFLL-cap";
	};

	sound {
		compatible = "nvidia,tegra-audio-max98090-venice2",
			   "nvidia,tegra-audio-max98090";
		nvidia,model = "NVIDIA Tegra Venice2";

		nvidia,audio-routing =
			"Headphone Jack", "HPR",
			"Headphone Jack", "HPL",
			"DMICL", "Int Mic",
			"DMICR", "Int Mic",
			"IN34", "Mic Jack",
			"Speakers", "SPKR",
			"Speakers", "SPKL";

		nvidia,i2s-controller = <&tegra_i2s1>;
		nvidia,audio-codec = <&max98090>;

		clocks = <&tegra_car TEGRA124_CLK_PLL_A>,
			 <&tegra_car TEGRA124_CLK_PLL_A_OUT0>,
			 <&tegra_car TEGRA124_CLK_EXTERN1>;
		clock-names = "pll_a", "pll_a_out0", "mclk";
	};

	cpu_edp {
		compatible = "nvidia,tegra124-cpu-edp";
		regulator-ma = <8000>;
	};

	cpu_edp_cdev_action {
		compatible = "nvidia,tegra124-cpu-edp-cdev-action";
		act-dev = <&{/cpu_edp}>;
		cdev-cap-type = "CPU-EDP-cap";
        };

	throttle0: tj-temperature-throttling {
		compatible = "nvidia,tegra124-tj-throttle";
		clocks = <&tegra_car TEGRA124_CLK_CAP_THROTTLE_C3BUS>,
			 <&tegra_car TEGRA124_CLK_CAP_THROTTLE_SCLK>,
			 <&tegra_car TEGRA124_CLK_CAP_THROTTLE_EMC>;
		clock-names = "cap.throttle.c3bus", "cap.throttle.sclk", "cap.throttle.emc";
		cpu-balanced-states = <&{/cpu-throttling-state}>;
		gpu-balanced-states = <&{/gpu-throttling-state}>;

		#cooling-cells = <2>; /* min followed by max */
	};

	thermal-zones {
		board_thermal_sensor: tmp451-local {
			polling-delay-passive = <2000>; /* milliseconds */
			polling-delay = <0>; /* milliseconds */

			thermal-sensors = <&tmp451 0>;
		};

		diode_thermal_sensor: tmp451-remote {
			polling-delay-passive = <1000>; /* milliseconds */
			polling-delay = <0>; /* milliseconds */

			thermal-sensors = <&tmp451 1>;
		};
	};
};
